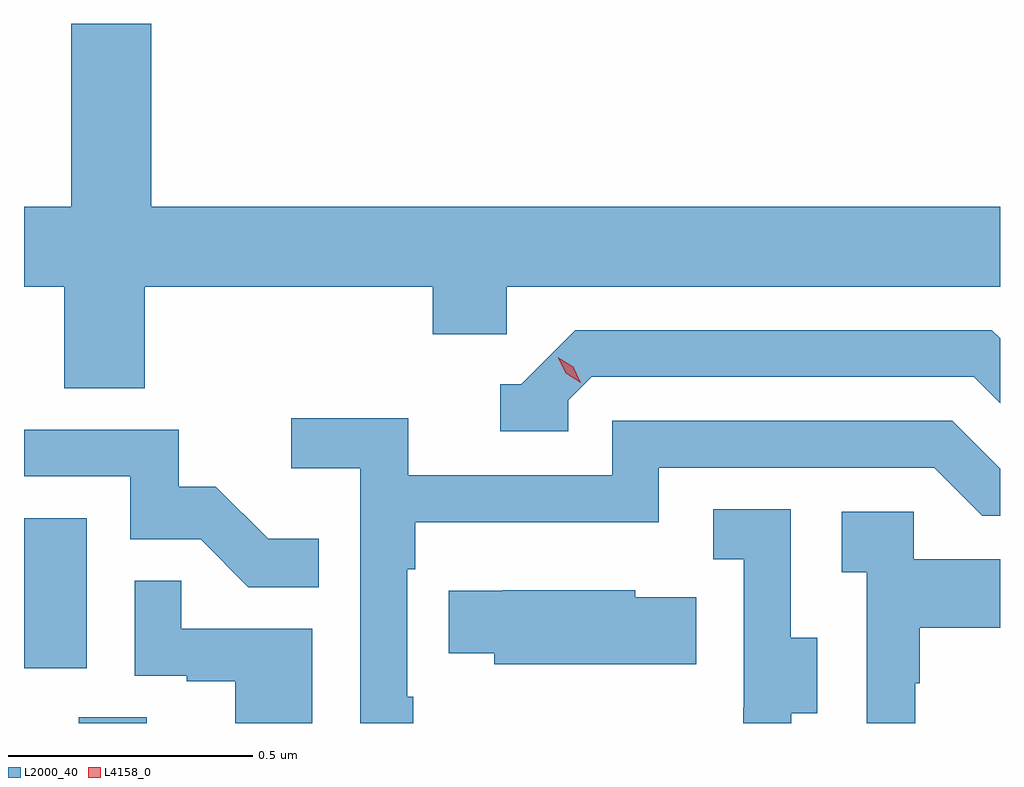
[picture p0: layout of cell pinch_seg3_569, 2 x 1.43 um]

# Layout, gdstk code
import gdstk
lib = gdstk.Library(unit=1e-6, precision=1e-09)
def R(c, l, rs):  # rectangles x0, y0, x1, y1
    for r in rs: c.add(gdstk.rectangle(r[:2], r[2:], *l))
def P(c, l, *ps):  # polygons
    for p in ps: c.add(gdstk.Polygon(p, *l))
L2000_40 = (2000, 40)
L4158_0 = (4158, 0)

pinch_seg3_569 = lib.new_cell('pinch_seg3_569')
R(pinch_seg3_569, L2000_40, [(1142.045,686.701,1142.185,686.714), (1141.933,686.814,1142.062,687.121)])
P(pinch_seg3_569, L2000_40, [(1142.18,687.596),(1142.771,687.596),(1142.771,687.498),(1142.922,687.498),(1142.922,687.596),(1143.933,687.596),(1143.933,687.76),(1142.194,687.76),(1142.194,688.135),(1142.03,688.135),(1142.03,687.76),(1141.933,687.76),(1141.933,687.596),(1142.015,687.596),(1142.015,687.388),(1142.18,687.388)],
  [(1143.048,687.363),(1143.096,687.411),(1143.879,687.411),(1143.933,687.357),(1143.933,687.49),(1143.916,687.507),(1143.063,687.507),(1142.952,687.396),(1142.909,687.396),(1142.909,687.3),(1143.048,687.3)],
  [(1142.731,686.756),(1142.718,686.756),(1142.718,687.017),(1142.735,687.017),(1142.735,687.113),(1143.234,687.113),(1143.234,687.225),(1143.798,687.225),(1143.897,687.126),(1143.933,687.126),(1143.933,687.223),(1143.835,687.321),(1143.138,687.321),(1143.138,687.21),(1142.72,687.21),(1142.72,687.326),(1142.481,687.326),(1142.481,687.224),(1142.622,687.224),(1142.622,686.701),(1142.731,686.701)],
  [(1142.537,687.079),(1142.433,687.079),(1142.326,687.186),(1142.25,687.186),(1142.25,687.303),(1141.933,687.303),(1141.933,687.207),(1142.151,687.207),(1142.151,687.078),(1142.295,687.078),(1142.393,686.98),(1142.537,686.98)],
  [(1143.505,686.722),(1143.559,686.722),(1143.559,686.877),(1143.504,686.877),(1143.504,687.14),(1143.345,687.14),(1143.345,687.037),(1143.408,687.037),(1143.408,686.733),(1143.407,686.733),(1143.407,686.701),(1143.505,686.701)],
  [(1143.759,686.783),(1143.769,686.783),(1143.769,686.897),(1143.933,686.897),(1143.933,687.037),(1143.756,687.037),(1143.756,687.135),(1143.609,687.135),(1143.609,687.011),(1143.66,687.011),(1143.66,686.701),(1143.759,686.701)],
  [(1142.524,686.895),(1142.255,686.895),(1142.255,686.993),(1142.16,686.993),(1142.16,686.799),(1142.267,686.799),(1142.267,686.787),(1142.366,686.787),(1142.366,686.701),(1142.524,686.701)],
  [(1143.311,686.959),(1143.186,686.959),(1143.186,686.974),(1142.914,686.974),(1142.914,686.973),(1142.803,686.973),(1142.803,686.845),(1142.897,686.845),(1142.897,686.822),(1143.311,686.822)])
P(pinch_seg3_569, L4158_0, [(1143.074,687.399),(1143.043,687.418),(1143.027,687.451),(1143.027,687.451),(1143.027,687.451),(1143.058,687.432),(1143.074,687.399),(1143.074,687.399)])

lib.write_gds('pinch_seg3_569.gds')
